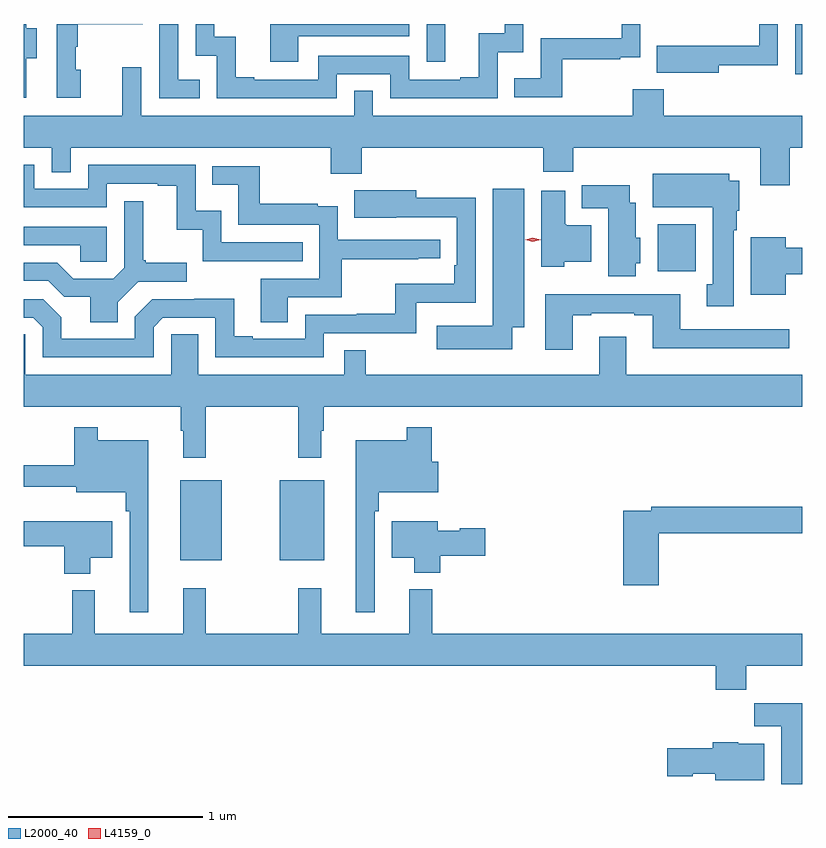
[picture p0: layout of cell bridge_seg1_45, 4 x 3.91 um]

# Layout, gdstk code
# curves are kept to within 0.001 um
import gdstk
lib = gdstk.Library(unit=1e-6, precision=1e-09)
def R(c, l, rs):  # rectangles x0, y0, x1, y1
    for r in rs: c.add(gdstk.rectangle(r[:2], r[2:], *l))
def P(c, l, *ps):  # polygons
    for p in ps: c.add(gdstk.Polygon(p, *l))
L2000_40 = (2000, 40)
L4159_0 = (4159, 0)

bridge_seg1_45 = lib.new_cell('bridge_seg1_45')
R(bridge_seg1_45, L2000_40, [(1012.649,564.263,1012.864,564.673), (1013.162,564.263,1013.389,564.673), (1015.103,565.748,1015.3,565.99), (1015.811,566.76,1015.846,567.019), (1013.916,566.826,1014.013,567.019)])
P(bridge_seg1_45, L2000_40, [(1013.454,566.76),(1013.73,566.76),(1013.73,566.637),(1014.282,566.637),(1014.282,566.873),(1014.414,566.873),(1014.414,567.019),(1014.318,567.019),(1014.318,566.971),(1014.185,566.971),(1014.185,566.746),(1014.089,566.746),(1014.089,566.733),(1013.826,566.733),(1013.826,566.856),(1013.358,566.856),(1013.358,566.733),(1013.029,566.733),(1013.029,566.746),(1012.934,566.746),(1012.934,566.954),(1012.824,566.954),(1012.824,567.019),(1012.728,567.019),(1012.728,566.856),(1012.836,566.856),(1012.836,566.637),(1013.454,566.637)],
  [(1012.751,566.733),(1012.638,566.733),(1012.638,567.019),(1012.542,567.019),(1012.542,566.637),(1012.751,566.637)],
  [(1012.138,566.784),(1012.113,566.784),(1012.113,566.903),(1012.123,566.903),(1012.123,567.017),(1012.457,567.017),(1012.457,567.019),(1012.014,567.019),(1012.014,566.64),(1012.138,566.64)],
  [(1014.613,566.838),(1014.911,566.838),(1014.911,566.849),(1015.014,566.849),(1015.014,567.019),(1014.918,567.019),(1014.918,566.946),(1014.502,566.946),(1014.502,566.74),(1014.367,566.74),(1014.367,566.643),(1014.613,566.643)],
  [(1011.859,566.842),(1011.913,566.842),(1011.913,566.997),(1011.858,566.997),(1011.858,567.019),(1011.846,567.019),(1011.846,566.64),(1011.859,566.64)],
  [(1013.257,566.955),(1013.826,566.955),(1013.826,567.019),(1013.113,567.019),(1013.113,566.826),(1013.257,566.826)],
  [(1015.417,566.806),(1015.722,566.806),(1015.722,567.019),(1015.626,567.019),(1015.626,566.907),(1015.313,566.907),(1015.313,566.908),(1015.099,566.908),(1015.099,566.768),(1015.417,566.768)],
  [(1015.784,566.384),(1015.846,566.384),(1015.846,566.548),(1015.136,566.548),(1015.136,566.683),(1014.976,566.683),(1014.976,566.548),(1013.64,566.548),(1013.64,566.675),(1013.544,566.675),(1013.544,566.548),(1012.449,566.548),(1012.449,566.797),(1012.352,566.797),(1012.352,566.548),(1011.846,566.548),(1011.846,566.384),(1011.99,566.384),(1011.99,566.257),(1012.086,566.257),(1012.086,566.384),(1013.422,566.384),(1013.422,566.249),(1013.582,566.249),(1013.582,566.384),(1014.515,566.384),(1014.515,566.26),(1014.671,566.26),(1014.671,566.384),(1015.631,566.384),(1015.631,566.19),(1015.784,566.19)],
  [(1013.279,565.896),(1012.86,565.896),(1012.86,566.059),(1012.728,566.059),(1012.728,566.295),(1012.176,566.295),(1012.176,566.172),(1011.9,566.172),(1011.9,566.295),(1011.846,566.295),(1011.846,566.076),(1012.272,566.076),(1012.272,566.199),(1012.535,566.199),(1012.535,566.187),(1012.631,566.187),(1012.631,565.961),(1012.764,565.961),(1012.764,565.8),(1013.279,565.8)],
  [(1013.203,565.614),(1013.48,565.614),(1013.48,565.81),(1013.873,565.81),(1013.873,565.815),(1013.986,565.815),(1013.986,565.911),(1013.46,565.911),(1013.46,566.083),(1013.357,566.083),(1013.357,566.095),(1013.059,566.095),(1013.059,566.289),(1012.813,566.289),(1012.813,566.192),(1012.948,566.192),(1012.948,565.986),(1013.364,565.986),(1013.364,565.71),(1013.063,565.71),(1013.063,565.486),(1013.203,565.486)],
  [(1015.495,565.958),(1015.51,565.958),(1015.51,566.058),(1015.522,566.058),(1015.522,566.212),(1015.471,566.212),(1015.471,566.248),(1015.079,566.248),(1015.079,566.078),(1015.388,566.078),(1015.388,565.682),(1015.355,565.682),(1015.355,565.569),(1015.495,565.569)],
  [(1014.991,565.788),(1015.015,565.788),(1015.015,565.92),(1014.991,565.92),(1014.991,566.101),(1014.961,566.101),(1014.961,566.19),(1014.713,566.19),(1014.713,566.072),(1014.851,566.072),(1014.851,565.721),(1014.991,565.721)],
  [(1014.355,565.46),(1014.418,565.46),(1014.418,566.173),(1014.257,566.173),(1014.257,565.468),(1013.967,565.468),(1013.967,565.346),(1014.355,565.346)],
  [(1012.512,565.461),(1012.56,565.509),(1012.83,565.509),(1012.83,565.305),(1013.388,565.305),(1013.388,565.428),(1013.862,565.428),(1013.862,565.587),(1014.168,565.587),(1014.168,566.126),(1013.863,566.126),(1013.863,566.164),(1013.545,566.164),(1013.545,566.024),(1014.072,566.025),(1014.072,565.78),(1014.059,565.78),(1014.059,565.684),(1013.754,565.684),(1013.754,565.529),(1013.557,565.529),(1013.557,565.524),(1013.292,565.524),(1013.292,565.401),(1013.023,565.401),(1013.023,565.414),(1012.927,565.414),(1012.927,565.607),(1012.722,565.607),(1012.722,565.605),(1012.506,565.605),(1012.416,565.515),(1012.416,565.401),(1012.039,565.401),(1012.039,565.511),(1011.945,565.605),(1011.846,565.605),(1011.846,565.509),(1011.894,565.509),(1011.942,565.461),(1011.942,565.305),(1012.512,565.305)],
  [(1014.624,565.796),(1014.763,565.796),(1014.763,565.984),(1014.634,565.984),(1014.634,565.99),(1014.628,565.99),(1014.628,566.161),(1014.506,566.161),(1014.506,565.772),(1014.624,565.772)],
  [(1012.327,565.588),(1012.434,565.695),(1012.684,565.695),(1012.684,565.792),(1012.471,565.792),(1012.471,565.804),(1012.459,565.804),(1012.459,566.107),(1012.362,566.107),(1012.362,565.767),(1012.305,565.71),(1012.099,565.71),(1012.018,565.791),(1011.846,565.791),(1011.846,565.698),(1011.972,565.698),(1012.052,565.618),(1012.187,565.618),(1012.187,565.486),(1012.327,565.486)],
  [(1012.272,565.977),(1011.846,565.977),(1011.846,565.881),(1012.135,565.881),(1012.135,565.797),(1012.272,565.797)],
  [(1015.762,565.732),(1015.846,565.732),(1015.846,565.868),(1015.762,565.868),(1015.762,565.924),(1015.583,565.924),(1015.583,565.628),(1015.762,565.628)],
  [(1014.667,565.521),(1014.763,565.521),(1014.763,565.533),(1014.983,565.533),(1014.983,565.521),(1015.079,565.521),(1015.079,565.352),(1015.78,565.352),(1015.78,565.449),(1015.219,565.449),(1015.219,565.629),(1014.759,565.629),(1014.759,565.63),(1014.527,565.63),(1014.527,565.344),(1014.667,565.344)],
  [(1012.781,565.052),(1013.257,565.052),(1013.257,564.789),(1013.374,564.789),(1013.374,564.929),(1013.386,564.929),(1013.386,565.052),(1015.846,565.052),(1015.846,565.216),(1014.943,565.216),(1014.943,565.411),(1014.803,565.411),(1014.803,565.216),(1013.602,565.216),(1013.602,565.343),(1013.493,565.343),(1013.493,565.216),(1012.741,565.216),(1012.741,565.424),(1012.602,565.424),(1012.602,565.216),(1011.852,565.216),(1011.852,565.424),(1011.846,565.424),(1011.846,565.052),(1012.653,565.052),(1012.653,564.929),(1012.664,564.929),(1012.664,564.789),(1012.781,564.789)],
  [(1013.649,564.515),(1013.669,564.515),(1013.669,564.611),(1013.977,564.611),(1013.977,564.769),(1013.942,564.769),(1013.942,564.946),(1013.814,564.946),(1013.814,564.88),(1013.552,564.88),(1013.552,563.994),(1013.649,563.994)],
  [(1012.486,564.88),(1012.225,564.88),(1012.225,564.946),(1012.104,564.946),(1012.104,564.751),(1011.846,564.751),(1011.846,564.641),(1012.115,564.641),(1012.115,564.611),(1012.369,564.611),(1012.369,564.515),(1012.389,564.515),(1012.389,563.994),(1012.486,563.994)],
  [(1015.109,564.4),(1015.846,564.4),(1015.846,564.536),(1015.072,564.536),(1015.072,564.516),(1014.926,564.516),(1014.926,564.135),(1015.109,564.135)],
  [(1013.987,564.286),(1014.217,564.286),(1014.217,564.428),(1014.087,564.428),(1014.087,564.415),(1013.974,564.415),(1013.974,564.463),(1013.738,564.463),(1013.738,564.275),(1013.852,564.275),(1013.852,564.197),(1013.987,564.197)],
  [(1012.186,564.275),(1012.3,564.275),(1012.3,564.463),(1011.846,564.463),(1011.846,564.334),(1012.052,564.334),(1012.052,564.194),(1012.186,564.194)],
  [(1015.559,563.72),(1015.846,563.72),(1015.846,563.884),(1013.945,563.884),(1013.945,564.112),(1013.828,564.112),(1013.828,563.884),(1013.375,563.884),(1013.375,564.118),(1013.257,564.118),(1013.257,563.884),(1012.781,563.884),(1012.781,564.118),(1012.664,564.118),(1012.664,563.884),(1012.211,563.884),(1012.211,564.109),(1012.093,564.109),(1012.093,563.884),(1011.846,563.884),(1011.846,563.72),(1015.403,563.72),(1015.403,563.596),(1015.559,563.596)],
  [(1015.846,563.527),(1015.6,563.527),(1015.6,563.408),(1015.739,563.408),(1015.739,563.112),(1015.846,563.112)],
  [(1015.651,563.32),(1015.518,563.32),(1015.518,563.326),(1015.388,563.326),(1015.388,563.295),(1015.152,563.295),(1015.152,563.153),(1015.284,563.153),(1015.284,563.165),(1015.4,563.165),(1015.4,563.132),(1015.651,563.132)])
P(bridge_seg1_45, L4159_0, [(1014.462,565.899),(1014.422,565.909),(1014.422,565.909),(1014.422,565.909),(1014.462,565.919),(1014.502,565.909),(1014.502,565.909),(1014.502,565.909)])

lib.write_gds('bridge_seg1_45.gds')
